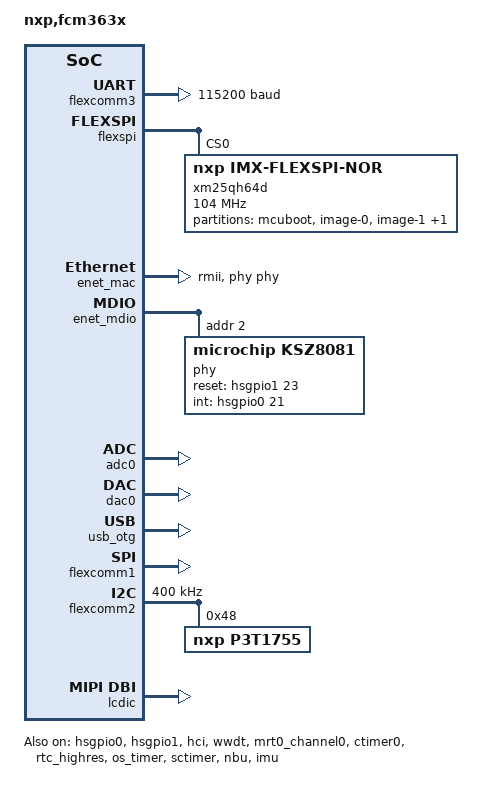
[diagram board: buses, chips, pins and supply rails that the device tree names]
/*
 * Copyright 2024-2025 NXP
 *
 * SPDX-License-Identifier: Apache-2.0
 */

#include "fcm363x-pinctrl.dtsi"
#include <zephyr/dt-bindings/input/input-event-codes.h>

/ {
	model = "nxp,fcm363x";

	aliases {
		watchdog0 = &wwdt;
		usart-0 = &flexcomm3;
		i2c-0 = &flexcomm2;
		pwm-0 = &sctimer;
		ambient-temp0 = &p3t1755;
	};

	chosen {
		zephyr,sram = &sram_data;
		zephyr,flash = &xm25qh64d;
		zephyr,console = &flexcomm3;
		zephyr,shell-uart = &flexcomm3;
		zephyr,flash-controller = &xm25qh64d;
		zephyr,code-partition = &slot0_partition;
		zephyr,uart-mcumgr = &flexcomm3;
	};

};

&flexcomm3 {
	compatible = "nxp,lpc-usart";
	status = "okay";
	current-speed = <115200>;
	pinctrl-0 = <&pinmux_flexcomm3_usart>;
	pinctrl-names = "default";
	wakeup-source;
};

&flexcomm0 {
	compatible = "nxp,lpc-usart";
	status = "disabled";
	current-speed = <115200>;
	pinctrl-0 = <&pinmux_flexcomm0_usart>;
	pinctrl-names = "default";
};

&hsgpio0 {
	status = "okay";
	pinctrl-0 = <&pinmux_hsgpio0>;
	pinctrl-names = "default";
};

&hsgpio1 {
	status = "okay";
	pinctrl-0 = <&pinmux_hsgpio1>;
	pinctrl-names = "default";
};

&flexspi {
	status = "okay";
	ahb-bufferable;
	ahb-prefetch;
	ahb-cacheable;
	ahb-read-addr-opt;
	ahb-boundary = "1024";
	rx-clock-source = <1>;
	rx-clock-source-b = <1>;
	/* xmc */
	xm25qh64d: xm25qh64d@0 {
		compatible = "nxp,imx-flexspi-nor";
		reg = <0>;
		size = <DT_SIZE_M(8*8)>;
		status = "okay";
		jedec-id = [20 40 17];
		erase-block-size = <4096>;
		write-block-size = <1>;
		spi-max-frequency = <104000000>;

		partitions {
			compatible = "fixed-partitions";
			#address-cells = <1>;
			#size-cells = <1>;

			/*
			 * Partition sizes must be aligned
			 * to the flash memory sector size of 4KB.
			 */
			boot_partition: partition@0 {
				label = "mcuboot";
				reg = <0x00000000 DT_SIZE_K(128)>;
			};
			slot0_partition: partition@20000 {
				label = "image-0";
				reg = <0x00020000 DT_SIZE_M(3)>;
			};
			slot1_partition: partition@320000 {
				label = "image-1";
				reg = <0x00320000 DT_SIZE_M(3)>;
			};
			storage_partition: partition@620000 {
				label = "storage";
				reg = <0x00620000 (DT_SIZE_M(2) - DT_SIZE_K(128))>;
			};
		};
	};

};

&hci {
	status = "okay";
	wakeup-source;
};

&enet_mac {
	status = "okay";
	pinctrl-0 = <&pinmux_enet>;
	pinctrl-names = "default";
	phy-handle = <&phy>;
	nxp,unique-mac;
	phy-connection-type = "rmii";
};

&enet_mdio {
	status = "okay";
	pinctrl-0 = <&pinmux_mdio>;
	pinctrl-names = "default";
	phy: phy@2 {
		compatible = "microchip,ksz8081";
		reg = <2>;
		status = "okay";
		reset-gpios = <&hsgpio1 23 GPIO_ACTIVE_HIGH>;
		int-gpios = <&hsgpio0 21 GPIO_ACTIVE_HIGH>;
		microchip,interface-type = "rmii";
	};
};

&wwdt {
	status = "okay";
};

&dma0 {
	status = "okay";
};

&wwdt {
	status = "okay";
};

&dma0 {
	status = "okay";
};

&mrt0_channel0 {
	status = "okay";
};

&ctimer0 {
	status = "okay";
};

/* RTC is the wakeup source for PM modes 3, 4 */
&rtc_highres {
	status = "okay";
	wakeup-source;
};

&pmu {
	reset-causes-en = <PMU_RESET_CM33_LOCKUP>,
			  <PMU_RESET_ITRC>,
			  <PMU_RESET_AP_RESET>;
};

/* OS Timer is the wakeup source for PM mode 2 */
&os_timer {
	status = "okay";
	wakeup-source;
	deep-sleep-counter = <&rtc_highres>;
};

&systick {
	status = "disabled";
};

&adc0 {
	status = "okay";
};

&dac0 {
	status = "okay";
};

&sctimer {
	status = "okay";
	pinctrl-0 = <&pinmux_pwm0>;
	pinctrl-names = "default";
};

/* RTC is the wakeup source for PM modes 3,4 */
&rtc_highres {
	status = "okay";
	wakeup-source;
};

&nbu {
	status = "okay";
	wakeup-source;
};

&imu {
	status = "okay";
	wakeup-source;
};

zephyr_udc0: &usb_otg {
	status = "okay";
};

/*
 * the default resistors on the board breaks out the MOSI/MISO
 * pins to the nets labelled "UART" which go to J1 2 and 4,
 * but we are using it for spi mosi and miso here.
 * SCK is on J2 6 as labelled.
 */
&flexcomm1 {
	compatible = "nxp,lpc-spi";
	pinctrl-0 = <&pinmux_flexcomm1_spi>;
	pinctrl-names = "default";
	status = "okay";
	#address-cells = <1>;
	#size-cells = <0>;
};

arduino_i2c: &flexcomm2 {
	compatible = "nxp,lpc-i2c";
	status = "okay";
	clock-frequency = <I2C_BITRATE_FAST>;
	#address-cells = <1>;
	#size-cells = <0>;
	pinctrl-0 = <&pinmux_flexcomm2_i2c>;
	pinctrl-names = "default";

	p3t1755: p3t1755@48 {
		compatible = "nxp,p3t1755";
		reg = <0x48>;
		status = "okay";
	};
};

zephyr_mipi_dbi_spi: &lcdic {
	status = "okay";
	pinctrl-0 = <&pinmux_lcdic>;
	pinctrl-names = "default";
};

nxp_pmod_touch_panel_i2c: &arduino_i2c {
	status = "okay";
};
